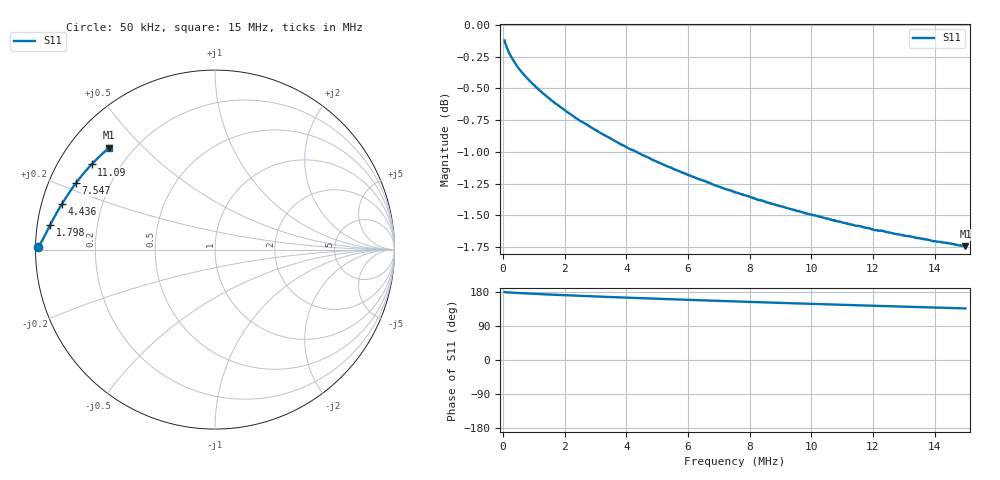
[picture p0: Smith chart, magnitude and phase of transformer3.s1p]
# HZ S RI R 50
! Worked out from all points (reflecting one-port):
!   1010 points, 50 kHz to 15 MHz, reference 50 ohm
!   lowest |S11| = -1.7 dB at 15 MHz (marker M1), VSWR 10.00, Z = 5.8 + j19.9 ohm
!   phase of S11 starts at 179 deg and turns -43 deg over the sweep
!   S11 on the Smith chart (normalised r, x): 50 kHz: 0.01, +0.01; 1.798 MHz: 0.04, +0.07; 4.436 MHz: 0.06, +0.15; 7.547 MHz: 0.08, +0.22; 11.09 MHz: 0.10, +0.31; 15 MHz: 0.12, +0.40
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50000  -0.9859 0.0129
94400  -0.9816 0.0211
168500  -0.9761 0.0285
316700  -0.9682 0.0414
494500  -0.9603 0.0552
716700  -0.9521 0.0711
1220500  -0.9361 0.1027
1798317  -0.9195 0.1351
1931717  -0.9161 0.1419
2583617  -0.8987 0.1748
2880017  -0.8912 0.1887
3798634  -0.8679 0.2295
4435734  -0.8522 0.2558
5102551  -0.8358 0.2823
5665551  -0.822 0.3035
6747268  -0.7955 0.3422
7532585  -0.776 0.3684
7547385  -0.7757 0.3691
8747485  -0.7462 0.4072
9399502  -0.7304 0.4265
1.01403e7  -0.7119 0.448
1.108862e7  -0.688 0.4741
1.126642e7  -0.6835 0.4787
1.234804e7  -0.6565 0.5067
1.313334e7  -0.6368 0.5256
1.424465e7  -0.6085 0.5509
1.482245e7  -0.594 0.5634
1.500035e7  -0.5896 0.5672
